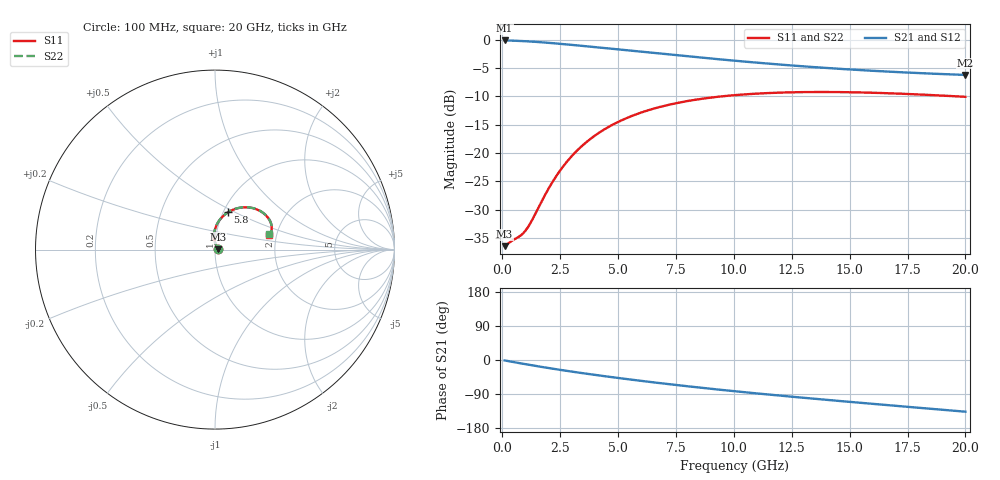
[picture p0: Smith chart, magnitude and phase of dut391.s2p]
! Touchstone file exported from HFSS 2024.1.0
!  File:  C:/UserFiles/LocalFiles/RDL_TSV_Batchsim/temp_RDL_TSV_391_1779647393.aedt
!  Generated:  02:46:04 AM May 25, 2026
!  Design:  RDL_TSV
!  Project:  temp_RDL_TSV_391_1779647393
!  Setup:  Setup1
!  Solution:  Sweep
! Variables:
!  dtsv = 6.82um
!  hbump = 3um
!  htsv = 61.84um
!  ldown = 113.7um
!  lrdl = 392um
!  p = 40
!  p1 = 42.32um
!  rhole = 10um
!  subl = 1909.1um
!  t = 450um
!  tdown = 2.11um
!  trdl = 2.56um
!  viad = 10um
!  wdown = 15um
!  wrdl = 21.85um
!  xbump = 18um
# GHz S MA R 50.000000
! Terminal data exported
! Port[1] = TM1_1_T1
! Port[2] = TM1_4_T1
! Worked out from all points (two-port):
!   200 points, 100 MHz to 20 GHz, reference 50 ohm
!   highest |S21| = -0.13 dB at 100 MHz (marker M1); lowest = -6.2 dB at 20 GHz (marker M2)
!   |S21| within 3 dB of the highest: start of sweep to 8.518 GHz
!   lowest |S11| = -36.5 dB at 100 MHz (marker M3), VSWR 1.03, Z = 51.5 + j0.209 ohm
!   |S11| at or under -10 dB: start of sweep to 9.495 GHz; 19.61 GHz to end of sweep
!   |S22| runs from -36.5 to -9.2 dB; largest |S21 - S12| = 8.9e-15
!   S11 on the Smith chart (normalised r, x): 100 MHz: 1.03, +0.00; 5.8 GHz: 1.05, +0.46; 20 GHz: 1.82, +0.34
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0.1  0.01501 7.8  0.9849 -1.2  0.9849 -1.2  0.01501 7.8
! Gamma 0 0 0 0
! Port Impedance 50 0 50 0
0.4  0.01668 25.9  0.9816 -4.5  0.9816 -4.5  0.01668 25.9
0.8  0.01869 47.4  0.9744 -8.9  0.9744 -8.9  0.01868 47.4
1  0.02057 59.3  0.9697 -11.0  0.9697 -11.0  0.02056 59.4
1.3  0.02581 75.1  0.9617 -14.2  0.9617 -14.2  0.02581 75.2
2  0.04849 92.3  0.9386 -21.2  0.9386 -21.2  0.04852 92.4
2.4  0.06557 94.1  0.9237 -25.1  0.9237 -25.1  0.06563 94.2
2.9  0.08896 92.9  0.9042 -29.7  0.9042 -29.7  0.08906 93.0
3.5  0.1182 89.3  0.8804 -35.0  0.8804 -35.0  0.1183 89.4
4  0.1423 85.4  0.8606 -39.3  0.8606 -39.3  0.1425 85.5
4.5  0.1656 81.3  0.8409 -43.4  0.8409 -43.4  0.1659 81.4
5.1  0.192 76.4  0.8177 -48.2  0.8177 -48.2  0.1923 76.5
5.8  0.22 70.8  0.7913 -53.6  0.7913 -53.6  0.2204 70.8
6.8  0.2545 63.2  0.7549 -61.0  0.7549 -61.0  0.2549 63.3
8.3  0.2941 53.2  0.7042 -71.3  0.7042 -71.3  0.2946 53.3
10.1  0.3246 43.1  0.6505 -82.8  0.6505 -82.8  0.3253 43.3
11.7  0.3393 35.8  0.6099 -92.3  0.6099 -92.3  0.3401 35.9
13.4  0.3451 29.3  0.5739 -101.9  0.5739 -101.9  0.3459 29.4
15  0.3436 24.3  0.5461 -110.5  0.5461 -110.5  0.3445 24.4
16.7  0.3365 20.2  0.5221 -119.4  0.5221 -119.4  0.3374 20.3
18.3  0.3262 17.4  0.504 -127.7  0.504 -127.7  0.3272 17.5
20  0.3131 15.5  0.4886 -136.4  0.4886 -136.4  0.3141 15.7
